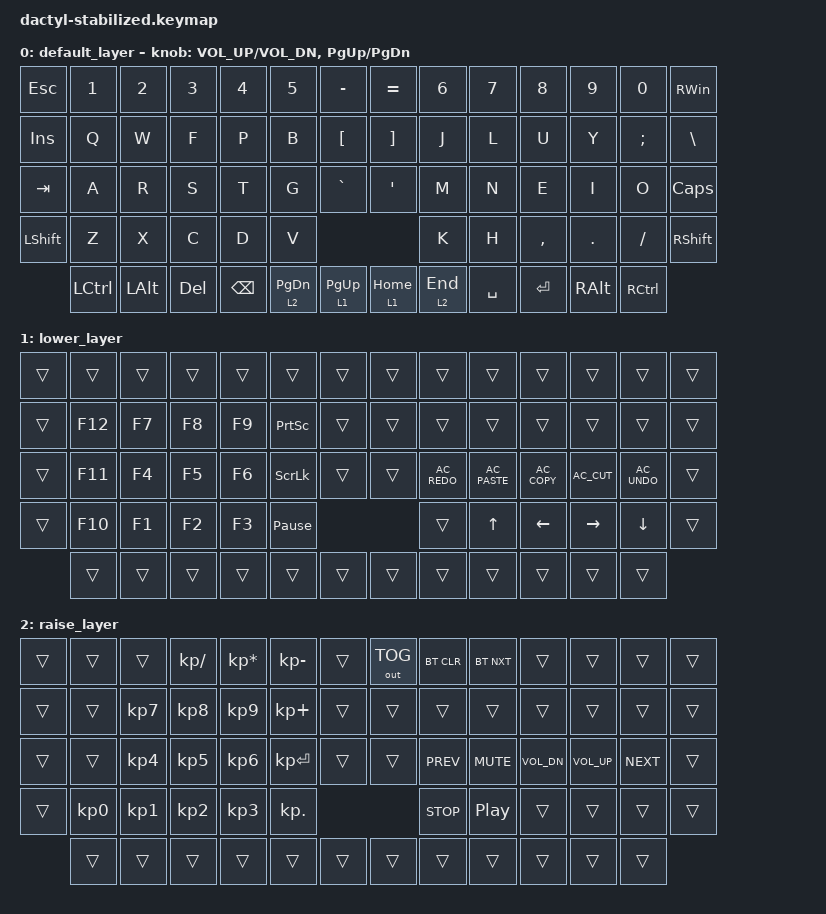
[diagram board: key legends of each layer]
/*
 * Copyright (c) 2020 The ZMK Contributors
 *
 * SPDX-License-Identifier: MIT
 */

#include <behaviors.dtsi>
/ {
    behaviors {
        lt: behavior_layer_tap {
            compatible = "zmk,behavior-hold-tap";
            label = "LAYER_TAP";
            #binding-cells = <2>;
            flavor = "hold-preferred";
            tapping-term-ms = <400>;
            bindings = <&mo>, <&kp>;
        };
    };
};
 #include <dt-bindings/zmk/keys.h>
 #include <dt-bindings/zmk/bt.h>
 #include <dt-bindings/zmk/outputs.h>
 
/ {
     keymap {
         compatible = "zmk,keymap";
         default_layer {
 // ------------------------------------------------------------------------------------------------------------
 // |  ESC  |  !  |  @  |   #  |   $   |   %   |   ^   |  |   &   |   *   |  (    |  )    |  -   |   +   |   `   |
 // |  INS  |  Q  |  W  |   F  |   R   |   T   |   [   |  |   ]   |   Y   |  U    |  I    |  O   |   P   |   \   |
 // |  TAB  |  A  |  S  |   D  |   F   |   G   |   (   |  |   )   |   H   |  J    |  K    |  L   |   ;   |   '   |
 // |  SHFT |  Z  |  X  |   C  |   V   |   B   |       |  |       |   N   |  M    |  ,    |  .   |   /   | ENTER |
 //         | XXX | ALT |  GUI | ENTER | RAISE | LOWER |  | RAISE | LOWER | SPACE | BSPC  | UNDO |   DO  |
 //
             bindings = <
&kp ESC    &kp N1 	&kp N2   &kp N3 &kp N4 &kp N5 		&kp MINUS          &kp EQUAL    &kp N6 	  &kp N7  &kp N8  &kp N9   &kp N0    &kp RWIN
&kp INS    &kp Q    	&kp W    &kp F    &kp P      &kp B     		&kp LBKT           &kp RBKT   	 &kp J     	  &kp L     &kp U     &kp Y       &kp SEMI       &kp BSLH
&kp TAB  	&kp A   	&kp R    &kp S    &kp T      &kp G    		&kp GRAVE          &kp APOS   	 &kp M     	  &kp N     &kp E     &kp I       &kp O    	  &kp CAPS
&kp LSHFT  &kp Z    	&kp X    &kp C    &kp D      &kp V                                 			 &kp K    	  &kp H     &kp COMMA &kp DOT     &kp FSLH    &kp RSHFT
            &kp LCTRL   &kp LALT &kp DEL  &kp BSPC   &lt 2 PG_DN    &lt 1 PG_UP        &lt 1 HOME     &lt 2 END   &kp SPACE &kp ENTER  &kp RALT   &kp RCTRL
             >;
 
             sensor-bindings = <&inc_dec_kp C_VOL_UP C_VOL_DN &inc_dec_kp PG_UP PG_DN>;
         };
 
         lower_layer {
 // ------------------------------------------------------------------------------------------------------------
 // |       |        |       |        |        |                |        |  |       |          |            |           |          |           |       |    
 // |       |  F12   |  F7   |   F8   |   F9   |   PRNT SCRN    |        |  |       |          |            |           |          |           |       |  
 // |       |  F11   |  F4   |   F5   |   F6   |   SCROLL LCK   |        |  |       |   REDO   |   PASTE    |   COPY    |   CUT    |    UNDO   |       | 
 // |       |  F10   |  F1   |   F2   |   F3   |   PG BREAK     |        |  |       |          |    UP      |    LFT    |   RGT    |    DWN    |       |
 //                  |       |        |        |                |        |  |       |          |            |           |          |           |       |
             bindings = <
&trans    &trans    &trans    &trans    &trans    &trans    		 &trans          &trans    &trans   		&trans   		&trans 				 &trans    		&trans      		 &trans
&trans    &kp F12   &kp F7    &kp F8    &kp F9    &kp PSCRN  		 &trans          &trans    &trans    		&trans 			&trans				 &trans 		&trans       		 &trans
&trans    &kp F11   &kp F4    &kp F5    &kp F6    &kp SLCK    		 &trans          &trans    &kp C_AC_REDO    &kp C_AC_PASTE 	&kp C_AC_COPY 		 &kp C_AC_CUT 	&kp C_AC_UNDO 		 &trans
&trans    &kp F10   &kp F1    &kp F2    &kp F3    &kp PAUSE_BREAK                             &trans    		&kp UP 			&kp LEFT 			 &kp RIGHT 		&kp DOWN   			 &trans
           &trans    &trans    &trans    &trans    &trans   		 &trans          &trans    &trans   		&trans    		&trans    			 &trans 		&trans
             >;
         };
 
         raise_layer {
 // ------------------------------------------------------------------------------------------------------------
 // |       |      |      |   /   |   *   |   -       |        |  |   OUT TOG   |   BT_CLEAR   |   BT_NXT     |             |          |       |       |
 // |       |      |   7  |   8   |   9   |   +       |        |  |             |              |              |             |          |       |       |
 // |       |      |   4  |    5  |   6   |   ENTER   |        |  |             |              |              |             |          |       |       |
 // |       |  0   |   1  |    2  |   3   |   .       |        |  |     PREV    |   MUTE       |   VOL DWN    |   VOL UP    |   NEXT   |       |       |
 //                |      |       |       |           |        |  |    STOP     |   PLPAUSE    |              |             |          |       |       |
             bindings = <
&trans  	 &trans 	  &trans 	     &kp KP_SLASH 	&kp KP_MULTIPLY	        &kp KP_MINUS	 &trans          &out OUT_TOG   &bt BT_CLR       &bt BT_NXT      &trans   		 &trans   		 &trans   	 &trans
&trans       &trans       &kp KP_N7      &kp KP_N8      &kp KP_N9      		    &kp KP_PLUS      &trans          &trans    		&trans    		 &trans   		 &trans   		 &trans   		 &trans   	 &trans
&trans       &trans       &kp KP_N4      &kp KP_N5      &kp KP_N6     			&kp KP_ENTER     &trans          &trans    		&kp C_PREV   	 &kp C_MUTE  	 &kp C_VOL_DN    &kp C_VOL_UP    &kp C_NEXT  &trans
&trans       &kp KP_N0    &kp KP_N1      &kp KP_N2      &kp KP_N3     			&kp KP_DOT                               		&kp C_STOP   	 &kp C_PP   	 &trans   		 &trans 		 &trans    	 &trans
              &trans       &trans      	  &trans      	 &trans      	 	 	&trans      	 &trans          &trans    		&trans   		 &trans   		 &trans    		 &trans 		 &trans
             >;
         };
     };
};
